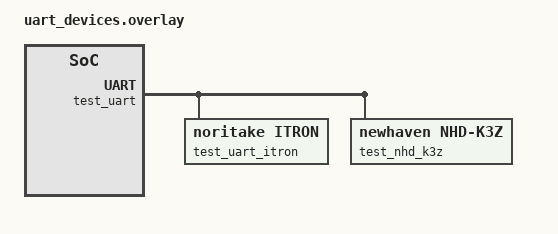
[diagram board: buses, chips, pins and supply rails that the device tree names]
/*
 * Copyright (c) 2024 TOKITA Hiroshi
 * Copyright (c) 2026
 * SPDX-License-Identifier: Apache-2.0
 */

/ {
	test {
		#address-cells = <1>;
		#size-cells = <1>;

		test_gpio: gpio@deadbeef {
			compatible = "vnd,gpio";
			gpio-controller;
			reg = <0xdeadbeef 0x1000>;
			#gpio-cells = <0x2>;
			status = "okay";
		};

		test_uart: uart@55556666 {
			compatible = "vnd,serial";
			reg = <0x55556666 0x1000>;
			status = "okay";

			test_uart_itron: itron {
				compatible = "noritake,itron";
				status = "okay";
				columns = <20>;
				rows = <2>;
			};

			test_nhd_k3z: nhd-k3z {
				compatible = "newhaven,nhd-k3z";
				status = "okay";
				columns = <16>;
				rows = <2>;
			};
		};
	};
};
